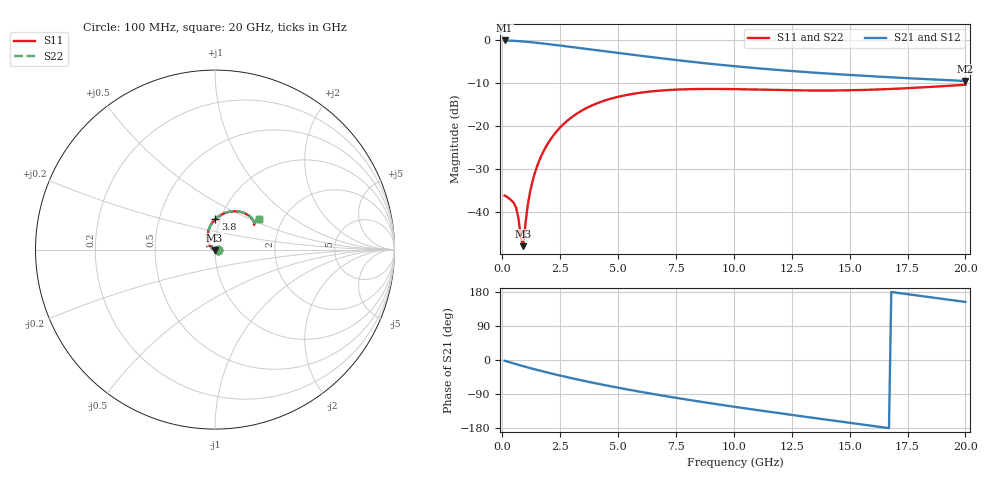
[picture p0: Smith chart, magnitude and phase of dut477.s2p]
! Touchstone file exported from HFSS 2024.1.0
!  File:  C:/UserFiles/LocalFiles/RDL_TSV_Batchsim/temp_RDL_TSV_477_1779731389.aedt
!  Generated:  02:04:35 AM May 26, 2026
!  Design:  RDL_TSV
!  Project:  temp_RDL_TSV_477_1779731389
!  Setup:  Setup1
!  Solution:  Sweep
! Variables:
!  dtsv = 11.38um
!  hbump = 3um
!  htsv = 78.38um
!  ldown = 390.65um
!  lrdl = 427.22um
!  p = 40
!  p1 = 49.98um
!  rhole = 10um
!  subl = 2880.83um
!  t = 450um
!  tdown = 2.4um
!  trdl = 3.96um
!  viad = 10um
!  wdown = 20.47um
!  wrdl = 23.32um
!  xbump = 18um
# GHz S MA R 50.000000
! Terminal data exported
! Port[1] = TM1_1_T1
! Port[2] = TM1_4_T1
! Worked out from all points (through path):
!   200 points, 100 MHz to 20 GHz, reference 50 ohm
!   highest |S21| = -0.14 dB at 100 MHz (marker M1); lowest = -9.6 dB at 20 GHz (marker M2)
!   group delay of S21, straight-line fit = 27 ps
!   lowest |S11| = -48.0 dB at 900 MHz (marker M3), VSWR 1.01, Z = 49.7 - j0.3 ohm
!   |S11| at or under -10 dB: start of sweep to end of sweep
!   |S22| runs from -48.2 to -10.4 dB; largest |S21 - S12| = 3.2e-14
!   S11 on the Smith chart (normalised r, x): 100 MHz: 1.03, -0.00; 3.8 GHz: 0.95, +0.33; 20 GHz: 1.52, +0.58
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0.1  0.01543 -1.5  0.9839 -1.9  0.9839 -1.9  0.01543 -1.5
! Gamma 0 0 0 0
! Port Impedance 50 0 50 0
0.4  0.01351 -5.5  0.9774 -7.4  0.9774 -7.4  0.01349 -5.8
0.6  0.01107 -18.3  0.9706 -11.0  0.9706 -11.0  0.01092 -18.4
0.7  0.008336 -33.9  0.9667 -12.8  0.9667 -12.8  0.008193 -33.5
0.8  0.005027 -63.4  0.9623 -14.5  0.9623 -14.5  0.004915 -62.9
0.9  0.003982 -130.7  0.9575 -16.3  0.9575 -16.3  0.003907 -131.2
1  0.007276 -175.2  0.9525 -18.0  0.9525 -18.0  0.007256 -175.6
1.1  0.01194 168.0  0.9471 -19.6  0.9471 -19.6  0.01195 167.8
1.2  0.01703 158.8  0.9415 -21.3  0.9415 -21.3  0.01706 158.8
1.4  0.02796 147.5  0.9296 -24.6  0.9296 -24.6  0.02803 147.5
1.7  0.04564 136.2  0.9107 -29.3  0.9107 -29.3  0.04575 136.3
2.1  0.07056 124.6  0.8845 -35.4  0.8845 -35.4  0.07073 124.6
2.5  0.09577 114.7  0.858 -41.2  0.858 -41.2  0.096 114.7
3.5  0.154 94.6  0.7935 -54.7  0.7935 -54.7  0.1543 94.6
3.8  0.1692 89.5  0.775 -58.5  0.775 -58.5  0.1696 89.5
5.1  0.2207 71.1  0.6991 -74.2  0.6991 -74.2  0.2212 71.1
6.8  0.2566 54.0  0.6131 -92.8  0.6131 -92.8  0.2573 54.1
8.4  0.2678 43.3  0.5472 -108.6  0.5472 -108.6  0.2686 43.4
10.1  0.2669 36.3  0.4918 -124.2  0.4918 -124.2  0.2677 36.3
13.4  0.2577 32.2  0.4166 -152.4  0.4166 -152.4  0.2584 32.2
16.7  0.2678 34.4  0.3677 -179.8  0.3677 -179.8  0.2684 34.4
20  0.3002 35.1  0.3323 153.2  0.3323 153.2  0.3007 35.1
